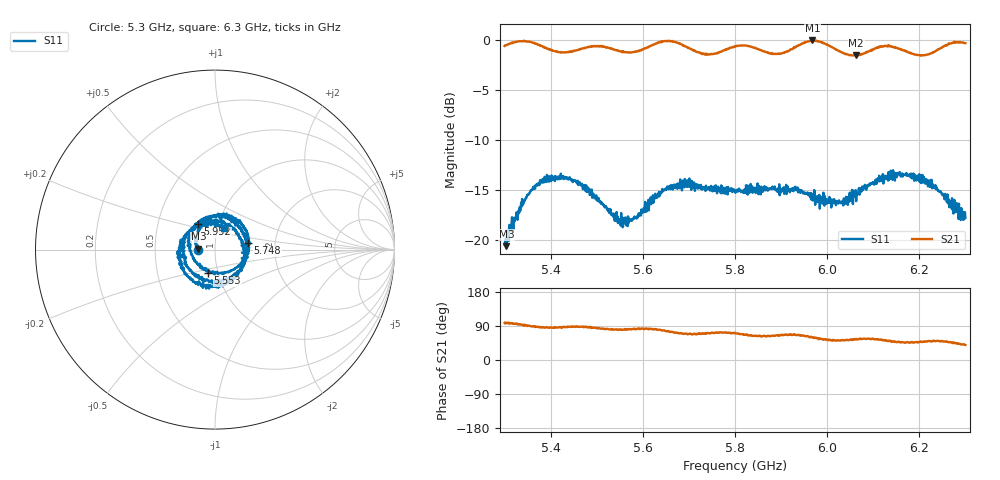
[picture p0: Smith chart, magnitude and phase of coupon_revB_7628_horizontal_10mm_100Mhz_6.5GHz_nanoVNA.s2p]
! NanoVNA-App
! Date: 2026-11-01 21:46:20
! Start: 5,3GHz Stop: 6,3GHz Points: 1001
! S-Parameter data: F S11 S21 S12 S22
# Hz S RI R 50
!  Frequency  S11_Real  S11_Imag  S21_Real  S21_Imag  S12_Real  S12_Imag  S22_Real  S22_Imag
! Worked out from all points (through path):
!   1001 points, 5.3 GHz to 6.3 GHz, reference 50 ohm
!   highest |S21| = 0.00 dB at 5.968 GHz (marker M1); lowest = -1.5 dB at 6.063 GHz (marker M2)
!   group delay of S21, straight-line fit = 142 ps
!   lowest |S11| = -20.6 dB at 5.304 GHz (marker M3), VSWR 1.20, Z = 41.5 + j0.402 ohm
!   |S11| at or under -10 dB: start of sweep to end of sweep
!   S12 and S22 are empty: the file has one direction only
!   S11 on the Smith chart (normalised r, x): 5.3 GHz: 0.83, -0.00; 5.553 GHz: 0.90, -0.24; 5.748 GHz: 1.44, +0.11; 5.952 GHz: 0.80, +0.23; 6.3 GHz: 1.08, +0.26
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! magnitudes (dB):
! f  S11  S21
! 5.3 GHz  -20.5  -0.6
! 5.304 GHz  -20.6  -0.5
! 5.34 GHz  -16.5  -0.1
! 5.372 GHz  -14.4  -0.4
! 5.425 GHz  -13.8  -1.2
! 5.467 GHz  -14.5  -0.8
! 5.553 GHz  -17.3  -1.1
! 5.591 GHz  -17.3  -1.0
! 5.634 GHz  -15.4  -0.2
! 5.691 GHz  -13.9  -0.6
! 5.748 GHz  -14.6  -1.4
! 5.8 GHz  -15.0  -0.6
! 5.893 GHz  -15.1  -1.3
! 5.952 GHz  -15.4  -0.2
! 5.967 GHz  -15.4  0.0
! 5.968 GHz  -15.6  0.0
! 6.03 GHz  -16.3  -1.2
! 6.063 GHz  -16.1  -1.5
! 6.134 GHz  -14.0  -0.6
! 6.205 GHz  -13.5  -1.5
! 6.269 GHz  -16.6  -0.3
! 6.3 GHz  -17.8  -0.3
